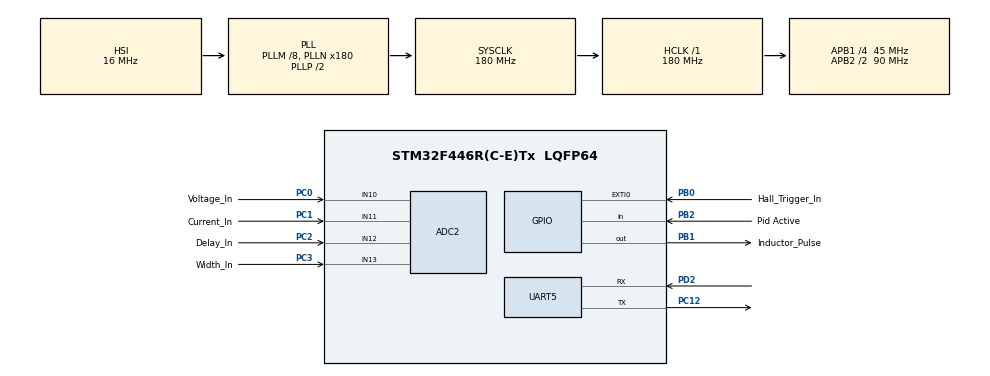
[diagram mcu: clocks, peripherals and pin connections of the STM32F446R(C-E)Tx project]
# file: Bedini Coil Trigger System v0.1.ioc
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ADC1.Channel-0\#ChannelRegularConversion=ADC_CHANNEL_10
ADC1.Channel-1\#ChannelRegularConversion=ADC_CHANNEL_11
ADC1.Channel-2\#ChannelRegularConversion=ADC_CHANNEL_12
ADC1.Channel-3\#ChannelRegularConversion=ADC_CHANNEL_13
ADC1.ContinuousConvMode=DISABLE
ADC1.NbrOfConversion=4
ADC1.NbrOfConversionFlag=1
ADC1.Rank-0\#ChannelRegularConversion=1
ADC1.Rank-1\#ChannelRegularConversion=2
ADC1.Rank-2\#ChannelRegularConversion=3
ADC1.Rank-3\#ChannelRegularConversion=4
ADC1.SamplingTime-0\#ChannelRegularConversion=ADC_SAMPLETIME_112CYCLES
ADC1.SamplingTime-1\#ChannelRegularConversion=ADC_SAMPLETIME_84CYCLES
ADC1.SamplingTime-2\#ChannelRegularConversion=ADC_SAMPLETIME_84CYCLES
ADC1.SamplingTime-3\#ChannelRegularConversion=ADC_SAMPLETIME_84CYCLES
ADC1.ScanConvMode=ENABLE
ADC1.master=1
ADC2.Channel-0\#ChannelRegularConversion=ADC_CHANNEL_10
ADC2.NbrOfConversionFlag=1
ADC2.Rank-0\#ChannelRegularConversion=1
ADC2.SamplingTime-0\#ChannelRegularConversion=ADC_SAMPLETIME_3CYCLES
Dma.ADC1.0.Direction=DMA_PERIPH_TO_MEMORY
Dma.ADC1.0.FIFOMode=DMA_FIFOMODE_DISABLE
Dma.ADC1.0.Instance=DMA2_Stream0
Dma.ADC1.0.MemDataAlignment=DMA_MDATAALIGN_WORD
Dma.ADC1.0.MemInc=DMA_MINC_ENABLE
Dma.ADC1.0.Mode=DMA_CIRCULAR
Dma.ADC1.0.PeriphDataAlignment=DMA_PDATAALIGN_WORD
Dma.ADC1.0.PeriphInc=DMA_PINC_DISABLE
Dma.ADC1.0.Priority=DMA_PRIORITY_MEDIUM
Dma.Request0=ADC1
Mcu.Family=STM32F4
Mcu.Name=STM32F446R(C-E)Tx
Mcu.Package=LQFP64
NVIC.DMA2_Stream0_IRQn=true\:0\:0\:true\:false\:true\:false\:true\:true
NVIC.EXTI0_IRQn=true\:0\:0\:true\:false\:true\:true\:true\:true
NVIC.PriorityGroup=NVIC_PRIORITYGROUP_4
NVIC.UART5_IRQn=true\:0\:0\:true\:false\:true\:true\:true\:true
PB0.GPIO_Label=Hall_Trigger_In
PB0.GPIO_ModeDefaultEXTI=GPIO_MODE_IT_RISING
PB0.GPIO_PuPd=GPIO_NOPULL
PB0.Signal=GPXTI0
PB1.GPIO_Label=Inductor_Pulse
PB1.GPIO_ModeDefaultOutputPP=GPIO_MODE_OUTPUT_PP
PB1.GPIO_Speed=GPIO_SPEED_FREQ_VERY_HIGH
PB1.Signal=GPIO_Output
PB2.GPIO_Label=Pid Active
PB2.Signal=GPIO_Input
PC0.GPIO_Label=Voltage_In
PC0.Signal=ADCx_IN10
PC1.GPIO_Label=Current_In
PC1.Signal=ADCx_IN11
PC12.Mode=Asynchronous
PC12.Signal=UART5_TX
PC2.GPIO_Label=Delay_In
PC2.Signal=ADCx_IN12
PC3.GPIO_Label=Width_In
PC3.Signal=ADCx_IN13
PD2.Mode=Asynchronous
PD2.Signal=UART5_RX
ProjectManager.HeapSize=0x200
ProjectManager.StackSize=0x400
ProjectManager.TargetToolchain=MDK-ARM V5.32
RCC.AHBFreq_Value=180000000
RCC.APB1CLKDivider=RCC_HCLK_DIV4
RCC.APB1Freq_Value=45000000
RCC.APB1TimFreq_Value=90000000
RCC.APB2CLKDivider=RCC_HCLK_DIV2
RCC.APB2Freq_Value=90000000
RCC.APB2TimFreq_Value=180000000
RCC.CortexFreq_Value=180000000
RCC.HCLKFreq_Value=180000000
RCC.PLLM=8
RCC.PLLN=180
RCC.SYSCLKFreq_VALUE=180000000
RCC.SYSCLKSource=RCC_SYSCLKSOURCE_PLLCLK
RCC.USBFreq_Value=180000000
RCC.VCOOutputFreq_Value=360000000
SH.ADCx_IN10.0=ADC2_IN10,IN10
SH.ADCx_IN10.1=ADC1_IN10,IN10
SH.ADCx_IN11.0=ADC2_IN11,IN11
SH.ADCx_IN11.1=ADC1_IN11,IN11
SH.ADCx_IN12.0=ADC2_IN12,IN12
SH.ADCx_IN12.1=ADC1_IN12,IN12
SH.ADCx_IN13.0=ADC2_IN13,IN13
SH.ADCx_IN13.1=ADC1_IN13,IN13
TIM1.Period=0xffff-1
TIM1.Prescaler=180-1
UART5.VirtualMode=Asynchronous
VP_TIM1_VS_ClockSourceINT.Mode=Internal
board=custom

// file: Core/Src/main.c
/* USER CODE BEGIN Header */
/**
  ******************************************************************************
  * @file           : main.c
  * @brief          : Main program body
  ******************************************************************************
  * @attention
  *
  * Copyright (c) 2022 STMicroelectronics.
  * All rights reserved.
  *
  * This software is licensed under terms that can be found in the LICENSE file
  * in the root directory of this software component.
  * If no LICENSE file comes with this software, it is provided AS-IS.
  *
  ******************************************************************************
  */
/* USER CODE END Header */
#include "main.h"

/* USER CODE BEGIN Includes */
#include <stdlib.h>

/* USER CODE END Includes */

ADC_HandleTypeDef hadc1;
ADC_HandleTypeDef hadc2;
DMA_HandleTypeDef hdma_adc1;

TIM_HandleTypeDef htim1;

UART_HandleTypeDef huart5;

/* USER CODE BEGIN PV */
// Calculation Settings
const uint32_t MAX_BATTERY_VOLTAGE = 6000; // ~3.3 volt = (60 / 18) = (170k -> 10k) resolution of ~15mV
const uint32_t MAX_BATTERY_CURRENT = 1000000; // to be calculated in uA
const uint32_t MAX_PULSE_DELAY = 5000; // some value making 1 = 1 uS
const uint32_t MAX_PULSE_WIDTH = 5000; // some value making 1 = 1 uS
const uint32_t STEP_MULTIPLIER_DELAY = 1;
const uint32_t STEP_MULTIPLIER_WIDTH = 1;

// Pulse motor settings
const int MAGNETS_ON_ROTOR = 10;
volatile uint32_t rpmSetPulse = 1500;
volatile int modeWidthPulse = 0;

// PID Settings
int MIN_BANDWIDTH_PID = 100;
int MAX_BANDWIDTH_PID = 100;
int MAX_TUNE_PID = 150;
int MIN_TUNE_PID = 1;
int DEADBAND_PID = 1;
volatile int activePid = 1;
volatile int bandwidthPulse = 100;
volatile uint32_t	multiplierPid;
volatile uint32_t rpmDifference;

// Analog Inputs
volatile uint32_t analogInputs[4];
volatile uint32_t analogInAvg[4][4];
const int analogChCounts = sizeof ( analogInputs) / sizeof (analogInputs[0]);
volatile int analogConvComplete = 0;

// Proram Vars
volatile uint32_t delayPulse = 0;
volatile uint32_t widthPulse = 0;
volatile uint32_t comparePulse[3];
volatile uint32_t rpmPulse = 0;
volatile int multiplierPulse = 100;
volatile uint32_t voltageAvg;
volatile uint32_t currentAvg;
volatile uint32_t delayAvg;
volatile uint32_t widthAvg;

volatile uint32_t voltageBattery = 0;
volatile uint32_t currentBattery = 0;

volatile int pulseTrigger;

// WIFI SSID and PASSWORD
uint8_t SSID[] = "Free Energy";
uint8_t PASS[] = "Nternet23!";

// uart data stuf
uint8_t dataCounter;
uint8_t data1[4];

// Pre programmed Strings
uint8_t Voltage[] = "Voltage: ";
uint8_t Volt[] = " Volt";
uint8_t Current[] = "Current: ";
uint8_t Amps[] = " Amp";
uint8_t RoundsPerSecond[] = "Motorspeed: ";
uint8_t Rpm[] = " Rpm";
uint8_t PulseWidth[] = "Pulsewidth: ";
uint8_t uS[] = " uS";
uint8_t Delay[] = "Delay: ";
/* USER CODE END PV */

void SystemClock_Config(void);
static void MX_GPIO_Init(void);
static void MX_DMA_Init(void);
static void MX_ADC1_Init(void);
static void MX_UART5_Init(void);
static void MX_TIM1_Init(void);
static void MX_ADC2_Init(void);

int main(void)
{

  /* MCU Configuration--------------------------------------------------------*/

  /* Reset of all peripherals, Initializes the Flash interface and the Systick. */
  HAL_Init();

  /* Configure the system clock */
  SystemClock_Config();

  /* Initialize all configured peripherals */
  MX_GPIO_Init();
  MX_DMA_Init();
  MX_ADC1_Init();
  MX_UART5_Init();
  MX_TIM1_Init();
  MX_ADC2_Init();
  /* USER CODE BEGIN 2 */
	// Init reference timer
	HAL_TIM_Base_Start(&htim1);
  /* USER CODE END 2 */

  /* Infinite loop */
  while (1)
  {

    /* USER CODE BEGIN 3 */
		if((pulseTrigger == 1)){
			comparePulse[1] = comparePulse[0];
			comparePulse[2] = (comparePulse[0] + comparePulse[1]) / 2;
			rpmPulse = (((1000000.0 / (float)comparePulse[2]) * 60.0) / (float)MAGNETS_ON_ROTOR);

			pulseTrigger = 0;

		}

		while( pulseTrigger == 0){
			HAL_ADC_Start_DMA(&hadc1, (uint32_t*) analogInputs, analogChCounts);
			while(analogConvComplete == 0){
					if(pulseTrigger == 1){

						rpmPulse = (((1000000.0 / (float)comparePulse[2]) * 60.0) / (float)MAGNETS_ON_ROTOR);
						pulseTrigger = 0;

					}
			}
			analogConvComplete = 0;

			for(int i = 0;i <= 3;i++){
				analogInAvg[i][0] = analogInputs[i];
			}
			for(int i = 3;i >= 0;i--){
				for(int ii = 0;ii <= 3;ii++){
					analogInAvg[i][ii] = analogInAvg[(i-1)][ii];
				}
			}
			voltageAvg = (analogInAvg[0][0] + analogInAvg[1][1] + analogInAvg[2][0] + analogInAvg[3][0]) / 4;
			currentAvg = (analogInAvg[0][1] + analogInAvg[1][1] + analogInAvg[2][1] + analogInAvg[3][1]) / 4;
			delayAvg = (analogInAvg[0][2] + analogInAvg[1][2] + analogInAvg[2][2] + analogInAvg[3][2]) / 4;
			widthAvg = (analogInAvg[0][3] + analogInAvg[1][3] + analogInAvg[2][3] + analogInAvg[3][3]) / 4;

			voltageBattery = (((float)MAX_BATTERY_VOLTAGE / 4095.0) * (float)voltageAvg); // to be verified
			currentBattery = (((float)MAX_BATTERY_CURRENT / 4095.0) * (float)currentAvg); // to be verified
			//delayPulse = (((MAX_PULSE_DELAY / 4095) * analogInputs[2]) * STEP_MULTIPLIER_DELAY);//analogInputs[2]); // to be verified 1000 = 1mS  * multiplier
			delayPulse =(((float) comparePulse[2] / 1000.0) * ((900.0 / 4095.0) * (float)delayAvg)); // rpm percentage delay

			if(modeWidthPulse == 1){
				// timed width
				widthPulse = ((((float)MAX_PULSE_WIDTH / 4095.0) * (float)widthAvg) * (float)STEP_MULTIPLIER_WIDTH); // to be verified 1000 = 1mS  * multiplier
			}
			else{
				// duty cycle
				widthPulse = (((float)comparePulse[2] / 10000.0) * ((5000.0 / 4095.0) * (((float)widthAvg / 100.0) * multiplierPid)));//(float) analogInputs[3])); // 0-50% duty cycle
			}
			//comparePulse = 0;

	/*		switch(dataCounter){
				case 0:
					//Send motor data over uart
					HAL_UART_Transmit(&huart5,Voltage,sizeof(Voltage),10);
					data1[0]=(voltageBattery >> 24) & 0xFF;
					data1[1]=(voltageBattery >> 16) & 0xFF;
					data1[2]=(voltageBattery >> 8) & 0xFF;
					data1[3]=(voltageBattery) & 0xFF;
					HAL_UART_Transmit(&huart5,data1,sizeof(data1),10);
					HAL_UART_Transmit(&huart5,Volt,sizeof(Volt),10);
					break;
				case 10:
					//Send motor data over uart
					HAL_UART_Transmit(&huart5,Current,sizeof(Current),10);
					data1[0]=(currentBattery >> 24) & 0xFF;
					data1[1]=(currentBattery >> 16) & 0xFF;
					data1[2]=(currentBattery >> 8) & 0xFF;
					data1[3]=(currentBattery) & 0xFF;
					HAL_UART_Transmit(&huart5,data1,sizeof(data1),10);
					HAL_UART_Transmit(&huart5,Amps,sizeof(Amps),10);
					break;
				case 20:
					//Send motor data over uart
					HAL_UART_Transmit(&huart5,RoundsPerSecond,sizeof(RoundsPerSecond),10);
					data1[0]=(rpmPulse >> 24) & 0xFF;
					data1[1]=(rpmPulse >> 16) & 0xFF;
					data1[2]=(rpmPulse >> 8) & 0xFF;
					data1[3]=(rpmPulse) & 0xFF;
					HAL_UART_Transmit(&huart5,data1,sizeof(data1),10);
					HAL_UART_Transmit(&huart5,Rpm,sizeof(Rpm),10);
					break;
				case 30:
					//Send motor data over uart
					HAL_UART_Transmit(&huart5,PulseWidth,sizeof(PulseWidth),10);
					data1[0]=(widthPulse >> 24) & 0xFF;
					data1[1]=(widthPulse >> 16) & 0xFF;
					data1[2]=(widthPulse >> 8) & 0xFF;
					data1[3]=(widthPulse) & 0xFF;
					HAL_UART_Transmit(&huart5,data1,sizeof(data1),10);
					HAL_UART_Transmit(&huart5,uS,sizeof(uS),10);
					break;
				case 40:
					//Send motor data over uart
					HAL_UART_Transmit(&huart5,Delay,sizeof(Delay),10);
					data1[0]=(delayPulse >> 24) & 0xFF;
					data1[1]=(delayPulse >> 16) & 0xFF;
					data1[2]=(delayPulse >> 8) & 0xFF;
					data1[3]=(delayPulse) & 0xFF;
					HAL_UART_Transmit(&huart5,data1,sizeof(data1),10);
					HAL_UART_Transmit(&huart5,uS,sizeof(uS),10);
					break;
			}

			dataCounter++;

			if(dataCounter >= 50){
					dataCounter = 0;
			} */

			// PID
			if(!(GPIOB->IDR &(1<<2))){
				if(rpmPulse < (rpmSetPulse - MIN_BANDWIDTH_PID)){
					multiplierPid = MAX_TUNE_PID;
					rpmDifference = rpmSetPulse - rpmPulse;
				}
				else if(rpmPulse > (rpmSetPulse + MAX_BANDWIDTH_PID)){
					multiplierPid = MIN_TUNE_PID;
					rpmDifference = rpmPulse - rpmSetPulse;
				}
				else if((rpmPulse > (rpmSetPulse - MIN_BANDWIDTH_PID)) && (rpmPulse < (rpmSetPulse - DEADBAND_PID))){
					rpmDifference = rpmSetPulse - rpmPulse;
					multiplierPid = 100 + rpmDifference	;

					if(multiplierPid > MAX_TUNE_PID){
						multiplierPid = MAX_TUNE_PID;
					}
				}
				else if((rpmPulse < (rpmSetPulse + MAX_BANDWIDTH_PID)) && (rpmPulse > (rpmSetPulse + DEADBAND_PID))){
					rpmDifference = rpmPulse - rpmSetPulse;
					multiplierPid = 100 - rpmDifference;

					if(multiplierPid > MAX_TUNE_PID){
						multiplierPid = MIN_TUNE_PID;
					}
				}
			}
		}
	}
  /* USER CODE END 3 */
}

void SystemClock_Config(void)
{
  RCC_OscInitTypeDef RCC_OscInitStruct = {0};
  RCC_ClkInitTypeDef RCC_ClkInitStruct = {0};

  /** Configure the main internal regulator output voltage
  */
  __HAL_RCC_PWR_CLK_ENABLE();
  __HAL_PWR_VOLTAGESCALING_CONFIG(PWR_REGULATOR_VOLTAGE_SCALE1);

  /** Initializes the RCC Oscillators according to the specified parameters
  * in the RCC_OscInitTypeDef structure.
  */
  RCC_OscInitStruct.OscillatorType = RCC_OSCILLATORTYPE_HSI;
  RCC_OscInitStruct.HSIState = RCC_HSI_ON;
  RCC_OscInitStruct.HSICalibrationValue = RCC_HSICALIBRATION_DEFAULT;
  RCC_OscInitStruct.PLL.PLLState = RCC_PLL_ON;
  RCC_OscInitStruct.PLL.PLLSource = RCC_PLLSOURCE_HSI;
  RCC_OscInitStruct.PLL.PLLM = 8;
  RCC_OscInitStruct.PLL.PLLN = 180;
  RCC_OscInitStruct.PLL.PLLP = RCC_PLLP_DIV2;
  RCC_OscInitStruct.PLL.PLLQ = 2;
  RCC_OscInitStruct.PLL.PLLR = 2;
  if (HAL_RCC_OscConfig(&RCC_OscInitStruct) != HAL_OK)
  {
    Error_Handler();
  }

  /** Activate the Over-Drive mode
  */
  if (HAL_PWREx_EnableOverDrive() != HAL_OK)
  {
    Error_Handler();
  }

  /** Initializes the CPU, AHB and APB buses clocks
  */
  RCC_ClkInitStruct.ClockType = RCC_CLOCKTYPE_HCLK|RCC_CLOCKTYPE_SYSCLK
                              |RCC_CLOCKTYPE_PCLK1|RCC_CLOCKTYPE_PCLK2;
  RCC_ClkInitStruct.SYSCLKSource = RCC_SYSCLKSOURCE_PLLCLK;
  RCC_ClkInitStruct.AHBCLKDivider = RCC_SYSCLK_DIV1;
  RCC_ClkInitStruct.APB1CLKDivider = RCC_HCLK_DIV4;
  RCC_ClkInitStruct.APB2CLKDivider = RCC_HCLK_DIV2;

  if (HAL_RCC_ClockConfig(&RCC_ClkInitStruct, FLASH_LATENCY_5) != HAL_OK)
  {
    Error_Handler();
  }
}

static void MX_ADC1_Init(void)
{

  ADC_ChannelConfTypeDef sConfig = {0};

  /** Configure the global features of the ADC (Clock, Resolution, Data Alignment and number of conversion)
  */
  hadc1.Instance = ADC1;
  hadc1.Init.ClockPrescaler = ADC_CLOCK_SYNC_PCLK_DIV4;
  hadc1.Init.Resolution = ADC_RESOLUTION_12B;
  hadc1.Init.ScanConvMode = ENABLE;
  hadc1.Init.ContinuousConvMode = DISABLE;
  hadc1.Init.DiscontinuousConvMode = DISABLE;
  hadc1.Init.ExternalTrigConvEdge = ADC_EXTERNALTRIGCONVEDGE_NONE;
  hadc1.Init.ExternalTrigConv = ADC_SOFTWARE_START;
  hadc1.Init.DataAlign = ADC_DATAALIGN_RIGHT;
  hadc1.Init.NbrOfConversion = 4;
  hadc1.Init.DMAContinuousRequests = DISABLE;
  hadc1.Init.EOCSelection = ADC_EOC_SINGLE_CONV;
  if (HAL_ADC_Init(&hadc1) != HAL_OK)
  {
    Error_Handler();
  }

  /** Configure for the selected ADC regular channel its corresponding rank in the sequencer and its sample time.
  */
  sConfig.Channel = ADC_CHANNEL_10;
  sConfig.Rank = 1;
  sConfig.SamplingTime = ADC_SAMPLETIME_112CYCLES;
  if (HAL_ADC_ConfigChannel(&hadc1, &sConfig) != HAL_OK)
  {
    Error_Handler();
  }

  /** Configure for the selected ADC regular channel its corresponding rank in the sequencer and its sample time.
  */
  sConfig.Channel = ADC_CHANNEL_11;
  sConfig.Rank = 2;
  sConfig.SamplingTime = ADC_SAMPLETIME_84CYCLES;
  if (HAL_ADC_ConfigChannel(&hadc1, &sConfig) != HAL_OK)
  {
    Error_Handler();
  }

  /** Configure for the selected ADC regular channel its corresponding rank in the sequencer and its sample time.
  */
  sConfig.Channel = ADC_CHANNEL_12;
  sConfig.Rank = 3;
  if (HAL_ADC_ConfigChannel(&hadc1, &sConfig) != HAL_OK)
  {
    Error_Handler();
  }

  /** Configure for the selected ADC regular channel its corresponding rank in the sequencer and its sample time.
  */
  sConfig.Channel = ADC_CHANNEL_13;
  sConfig.Rank = 4;
  if (HAL_ADC_ConfigChannel(&hadc1, &sConfig) != HAL_OK)
  {
    Error_Handler();
  }

}

static void MX_ADC2_Init(void)
{

  ADC_ChannelConfTypeDef sConfig = {0};

  /** Configure the global features of the ADC (Clock, Resolution, Data Alignment and number of conversion)
  */
  hadc2.Instance = ADC2;
  hadc2.Init.ClockPrescaler = ADC_CLOCK_SYNC_PCLK_DIV4;
  hadc2.Init.Resolution = ADC_RESOLUTION_12B;
  hadc2.Init.ScanConvMode = DISABLE;
  hadc2.Init.ContinuousConvMode = DISABLE;
  hadc2.Init.DiscontinuousConvMode = DISABLE;
  hadc2.Init.ExternalTrigConvEdge = ADC_EXTERNALTRIGCONVEDGE_NONE;
  hadc2.Init.ExternalTrigConv = ADC_SOFTWARE_START;
  hadc2.Init.DataAlign = ADC_DATAALIGN_RIGHT;
  hadc2.Init.NbrOfConversion = 1;
  hadc2.Init.DMAContinuousRequests = DISABLE;
  hadc2.Init.EOCSelection = ADC_EOC_SINGLE_CONV;
  if (HAL_ADC_Init(&hadc2) != HAL_OK)
  {
    Error_Handler();
  }

  /** Configure for the selected ADC regular channel its corresponding rank in the sequencer and its sample time.
  */
  sConfig.Channel = ADC_CHANNEL_10;
  sConfig.Rank = 1;
  sConfig.SamplingTime = ADC_SAMPLETIME_3CYCLES;
  if (HAL_ADC_ConfigChannel(&hadc2, &sConfig) != HAL_OK)
  {
    Error_Handler();
  }

}

static void MX_TIM1_Init(void)
{

  TIM_ClockConfigTypeDef sClockSourceConfig = {0};
  TIM_MasterConfigTypeDef sMasterConfig = {0};

  htim1.Instance = TIM1;
  htim1.Init.Prescaler = 180-1;
  htim1.Init.CounterMode = TIM_COUNTERMODE_UP;
  htim1.Init.Period = 0xffff-1;
  htim1.Init.ClockDivision = TIM_CLOCKDIVISION_DIV1;
  htim1.Init.RepetitionCounter = 0;
  htim1.Init.AutoReloadPreload = TIM_AUTORELOAD_PRELOAD_DISABLE;
  if (HAL_TIM_Base_Init(&htim1) != HAL_OK)
  {
    Error_Handler();
  }
  sClockSourceConfig.ClockSource = TIM_CLOCKSOURCE_INTERNAL;
  if (HAL_TIM_ConfigClockSource(&htim1, &sClockSourceConfig) != HAL_OK)
  {
    Error_Handler();
  }
  sMasterConfig.MasterOutputTrigger = TIM_TRGO_RESET;
  sMasterConfig.MasterSlaveMode = TIM_MASTERSLAVEMODE_DISABLE;
  if (HAL_TIMEx_MasterConfigSynchronization(&htim1, &sMasterConfig) != HAL_OK)
  {
    Error_Handler();
  }

}

static void MX_UART5_Init(void)
{

  huart5.Instance = UART5;
  huart5.Init.BaudRate = 115200;
  huart5.Init.WordLength = UART_WORDLENGTH_8B;
  huart5.Init.StopBits = UART_STOPBITS_1;
  huart5.Init.Parity = UART_PARITY_NONE;
  huart5.Init.Mode = UART_MODE_TX_RX;
  huart5.Init.HwFlowCtl = UART_HWCONTROL_NONE;
  huart5.Init.OverSampling = UART_OVERSAMPLING_16;
  if (HAL_UART_Init(&huart5) != HAL_OK)
  {
    Error_Handler();
  }

}

static void MX_DMA_Init(void)
{

  /* DMA controller clock enable */
  __HAL_RCC_DMA2_CLK_ENABLE();

  /* DMA interrupt init */
  /* DMA2_Stream0_IRQn interrupt configuration */
  HAL_NVIC_SetPriority(DMA2_Stream0_IRQn, 0, 0);
  HAL_NVIC_EnableIRQ(DMA2_Stream0_IRQn);

}

static void MX_GPIO_Init(void)
{
  GPIO_InitTypeDef GPIO_InitStruct = {0};

  /* GPIO Ports Clock Enable */
  __HAL_RCC_GPIOC_CLK_ENABLE();
  __HAL_RCC_GPIOB_CLK_ENABLE();
  __HAL_RCC_GPIOD_CLK_ENABLE();

  /*Configure GPIO pin Output Level */
  HAL_GPIO_WritePin(Inductor_Pulse_GPIO_Port, Inductor_Pulse_Pin, GPIO_PIN_RESET);

  /*Configure GPIO pin : Hall_Trigger_In_Pin */
  GPIO_InitStruct.Pin = Hall_Trigger_In_Pin;
  GPIO_InitStruct.Mode = GPIO_MODE_IT_RISING;
  GPIO_InitStruct.Pull = GPIO_NOPULL;
  HAL_GPIO_Init(Hall_Trigger_In_GPIO_Port, &GPIO_InitStruct);

  /*Configure GPIO pin : Inductor_Pulse_Pin */
  GPIO_InitStruct.Pin = Inductor_Pulse_Pin;
  GPIO_InitStruct.Mode = GPIO_MODE_OUTPUT_PP;
  GPIO_InitStruct.Pull = GPIO_NOPULL;
  GPIO_InitStruct.Speed = GPIO_SPEED_FREQ_VERY_HIGH;
  HAL_GPIO_Init(Inductor_Pulse_GPIO_Port, &GPIO_InitStruct);

  /*Configure GPIO pin : Pid_Active_Pin */
  GPIO_InitStruct.Pin = Pid_Active_Pin;
  GPIO_InitStruct.Mode = GPIO_MODE_INPUT;
  GPIO_InitStruct.Pull = GPIO_NOPULL;
  HAL_GPIO_Init(Pid_Active_GPIO_Port, &GPIO_InitStruct);

  /* EXTI interrupt init*/
  HAL_NVIC_SetPriority(EXTI0_IRQn, 0, 0);
  HAL_NVIC_EnableIRQ(EXTI0_IRQn);

}

/* USER CODE BEGIN 4 */
void HAL_ADC_ConvCpltCallback(ADC_HandleTypeDef *hadc)
{
	analogConvComplete = 1;
}

/* USER CODE END 4 */

void Error_Handler(void)
{
  __disable_irq();
  while (1)
  {
  }
}
